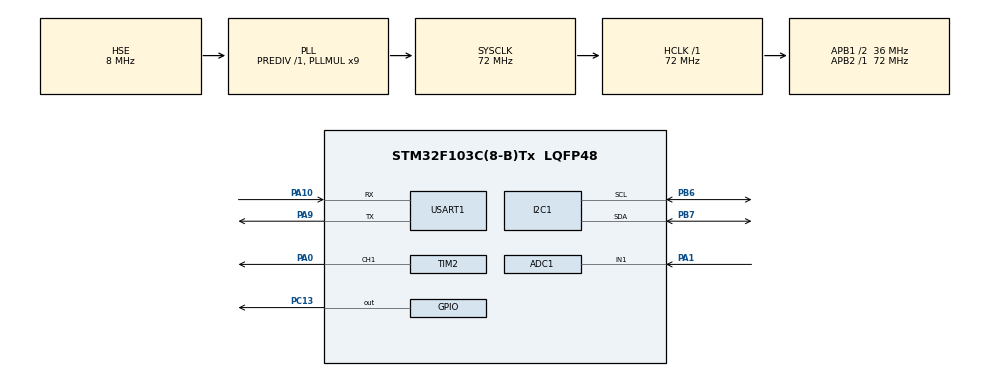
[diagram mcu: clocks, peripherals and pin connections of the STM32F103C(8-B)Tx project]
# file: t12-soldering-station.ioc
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ADC1.Channel-3\#ChannelRegularConversion=ADC_CHANNEL_1
ADC1.NbrOfConversionFlag=1
ADC1.Rank-3\#ChannelRegularConversion=1
ADC1.SamplingTime-3\#ChannelRegularConversion=ADC_SAMPLETIME_1CYCLE_5
ADC1.master=1
Mcu.Family=STM32F1
Mcu.Name=STM32F103C(8-B)Tx
Mcu.Package=LQFP48
NVIC.PriorityGroup=NVIC_PRIORITYGROUP_4
NVIC.TIM2_IRQn=true\:0\:0\:false\:false\:true\:true\:true\:true
PA0-WKUP.Signal=S_TIM2_CH1_ETR
PA1.Signal=ADCx_IN1
PA10.Mode=Asynchronous
PA10.Signal=USART1_RX
PA13.Mode=Serial_Wire
PA13.Signal=SYS_JTMS-SWDIO
PA14.Mode=Serial_Wire
PA14.Signal=SYS_JTCK-SWCLK
PA9.Mode=Asynchronous
PA9.Signal=USART1_TX
PB6.Mode=I2C
PB6.Signal=I2C1_SCL
PB7.Mode=I2C
PB7.Signal=I2C1_SDA
PC13-TAMPER-RTC.Signal=GPIO_Output
PD0-OSC_IN.Mode=HSE-External-Oscillator
PD0-OSC_IN.Signal=RCC_OSC_IN
PD1-OSC_OUT.Mode=HSE-External-Oscillator
PD1-OSC_OUT.Signal=RCC_OSC_OUT
ProjectManager.HeapSize=0x200
ProjectManager.StackSize=0x400
ProjectManager.TargetToolchain=MDK-ARM V5.32
RCC.ADCPresc=RCC_ADCPCLK2_DIV6
RCC.AHBFreq_Value=72000000
RCC.APB1CLKDivider=RCC_HCLK_DIV2
RCC.APB1Freq_Value=36000000
RCC.APB1TimFreq_Value=72000000
RCC.APB2Freq_Value=72000000
RCC.APB2TimFreq_Value=72000000
RCC.HCLKFreq_Value=72000000
RCC.PLLMUL=RCC_PLL_MUL9
RCC.PLLSourceVirtual=RCC_PLLSOURCE_HSE
RCC.SYSCLKFreq_VALUE=72000000
RCC.SYSCLKSource=RCC_SYSCLKSOURCE_PLLCLK
RCC.USBFreq_Value=72000000
SH.ADCx_IN1.0=ADC1_IN1,IN1
SH.S_TIM2_CH1_ETR.0=TIM2_CH1,PWM Generation1 CH1
TIM2.Channel-Output\ Compare2\ No\ Output=TIM_CHANNEL_2
TIM2.Channel-PWM\ Generation1\ CH1=TIM_CHANNEL_1
TIM2.OCPolarity_1=TIM_OCPOLARITY_LOW
TIM2.Period=1050-1
TIM2.Prescaler=144-1
TIM2.Pulse-Output\ Compare2\ No\ Output=1025
TIM2.Pulse-PWM\ Generation1\ CH1=500
USART1.VirtualMode=VM_ASYNC
VP_IWDG_VS_IWDG.Mode=IWDG_Activate
VP_TIM2_VS_ClockSourceINT.Mode=Internal
VP_TIM2_VS_no_output2.Mode=Output Compare2 No Output
board=custom

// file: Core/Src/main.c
/* USER CODE BEGIN Header */
/**
  ******************************************************************************
  * @file           : main.c
  * @brief          : Main program body
  ******************************************************************************
  * @attention
  *
  * Copyright (c) 2023 STMicroelectronics.
  * All rights reserved.
  *
  * This software is licensed under terms that can be found in the LICENSE file
  * in the root directory of this software component.
  * If no LICENSE file comes with this software, it is provided AS-IS.
  *
  ******************************************************************************
  */
/* USER CODE END Header */
#include "main.h"
#include "adc.h"
#include "i2c.h"
#include "iwdg.h"
#include "tim.h"
#include "usart.h"
#include "gpio.h"

void SystemClock_Config(void);
/* USER CODE BEGIN PFP */
uint8_t OLED_ShowStr(unsigned char x, unsigned char y, unsigned char ch[], unsigned char TextSize);
uint8_t OLED_Init(void);
uint8_t OLED_CLS(void);
uint8_t OLED_ShowCN(unsigned char x, unsigned char y, unsigned char N);

uint32_t cnt = 0;
int32_t pwm_max = 1000, temp_t = 50, pwm = 500;
int16_t temp_set = 300, temp_real, state = 1; //0:sleep; 1:awake
uint16_t measure_temp, measure_vibration, measure_temp_set;
float kp = 60, ki = 2, kd = 0;
float err, prev_err = 0, sum_err = 0;

int width = 16, offset = 14;
int teststate = 0;
#define oled_shownum(x,y,n) if(OLED_ShowCN(x,y,n)){HAL_I2C_MspDeInit(&hi2c1);HAL_I2C_MspInit(&hi2c1);MX_I2C1_Init();if(OLED_Init()){teststate++;}else {/*OLED_CLS();*/teststate = 0;}return;}
void oled_show(){
	//temp_real / temp_set
	int num = temp_real;
	if(state){
		oled_shownum(width * 6 + offset, 2, num / 100);
		oled_shownum(width * 5 + offset, 2, (num / 10) % 10);
		oled_shownum(width * 4 + offset, 2, num % 10);
	}else{
		oled_shownum(width * 7, 2, 11);
		oled_shownum(width * 6, 2, 11);
		oled_shownum(width * 5, 2, 11);
	}

	oled_shownum(54, 2, 10);

	num = temp_set;
	oled_shownum(32, 2, num / 100);
	oled_shownum(16, 2, (num / 10) % 10);
	//oled_shownum(0, 2, 0);
	oled_shownum(0, 2, num % 10);

}

/* USER CODE END PFP */

int main(void)
{

  /* MCU Configuration--------------------------------------------------------*/

  /* Reset of all peripherals, Initializes the Flash interface and the Systick. */
  HAL_Init();

  /* Configure the system clock */
  SystemClock_Config();

  /* Initialize all configured peripherals */
  MX_GPIO_Init();
  MX_ADC1_Init();
  MX_I2C1_Init();
  MX_USART1_UART_Init();
  MX_TIM2_Init();
  MX_IWDG_Init();
  /* USER CODE BEGIN 2 */
	OLED_Init();
	OLED_CLS();

	HAL_TIM_Base_Start_IT(&htim2);
	HAL_TIM_PWM_Start(&htim2, TIM_CHANNEL_1);
	HAL_TIM_OC_Start_IT(&htim2, TIM_CHANNEL_2);
	//HAL_ADC_Start_DMA(&hadc1, (uint32_t*)&adc_val, 3);

  /* USER CODE END 2 */

  /* Infinite loop */
  while (1)
  {

    /* USER CODE BEGIN 3 */
	    HAL_IWDG_Refresh(&hiwdg);
		oled_show();

	  	HAL_GPIO_TogglePin(GPIOC,GPIO_PIN_13);//对GPIO口的电平进行反转（低-高，高—低）
		HAL_Delay(500);

  }
  /* USER CODE END 3 */
}

void SystemClock_Config(void)
{
  RCC_OscInitTypeDef RCC_OscInitStruct = {0};
  RCC_ClkInitTypeDef RCC_ClkInitStruct = {0};
  RCC_PeriphCLKInitTypeDef PeriphClkInit = {0};

  /** Initializes the RCC Oscillators according to the specified parameters
  * in the RCC_OscInitTypeDef structure.
  */
  RCC_OscInitStruct.OscillatorType = RCC_OSCILLATORTYPE_LSI|RCC_OSCILLATORTYPE_HSE;
  RCC_OscInitStruct.HSEState = RCC_HSE_ON;
  RCC_OscInitStruct.HSEPredivValue = RCC_HSE_PREDIV_DIV1;
  RCC_OscInitStruct.HSIState = RCC_HSI_ON;
  RCC_OscInitStruct.LSIState = RCC_LSI_ON;
  RCC_OscInitStruct.PLL.PLLState = RCC_PLL_ON;
  RCC_OscInitStruct.PLL.PLLSource = RCC_PLLSOURCE_HSE;
  RCC_OscInitStruct.PLL.PLLMUL = RCC_PLL_MUL9;
  if (HAL_RCC_OscConfig(&RCC_OscInitStruct) != HAL_OK)
  {
    Error_Handler();
  }

  /** Initializes the CPU, AHB and APB buses clocks
  */
  RCC_ClkInitStruct.ClockType = RCC_CLOCKTYPE_HCLK|RCC_CLOCKTYPE_SYSCLK
                              |RCC_CLOCKTYPE_PCLK1|RCC_CLOCKTYPE_PCLK2;
  RCC_ClkInitStruct.SYSCLKSource = RCC_SYSCLKSOURCE_PLLCLK;
  RCC_ClkInitStruct.AHBCLKDivider = RCC_SYSCLK_DIV1;
  RCC_ClkInitStruct.APB1CLKDivider = RCC_HCLK_DIV2;
  RCC_ClkInitStruct.APB2CLKDivider = RCC_HCLK_DIV1;

  if (HAL_RCC_ClockConfig(&RCC_ClkInitStruct, FLASH_LATENCY_2) != HAL_OK)
  {
    Error_Handler();
  }
  PeriphClkInit.PeriphClockSelection = RCC_PERIPHCLK_ADC;
  PeriphClkInit.AdcClockSelection = RCC_ADCPCLK2_DIV6;
  if (HAL_RCCEx_PeriphCLKConfig(&PeriphClkInit) != HAL_OK)
  {
    Error_Handler();
  }
}

/* USER CODE BEGIN 4 */

void ADC_Select_CH (uint32_t channel)
{
	ADC_ChannelConfTypeDef sConfig = {0};
	  /** Configure for the selected ADC regular channel its corresponding rank in the sequencer and its sample time.
	  */
	  sConfig.Channel = channel;
	  sConfig.Rank = 1;
	  sConfig.SamplingTime = ADC_SAMPLETIME_41CYCLES_5;
	  if (HAL_ADC_ConfigChannel(&hadc1, &sConfig) != HAL_OK)
	  {
	    Error_Handler();
	  }
}

void adc_scan(){
	ADC_Select_CH(ADC_CHANNEL_1);
	HAL_ADC_Start(&hadc1);
	HAL_ADC_PollForConversion(&hadc1, 1000);
	int temp_val = HAL_ADC_GetValue(&hadc1);
	if(temp_val < 3800){
		measure_temp = measure_temp * 0.95 + HAL_ADC_GetValue(&hadc1) * 0.05;
	}
	HAL_ADC_Stop(&hadc1);
	ADC_Select_CH(ADC_CHANNEL_2);
	HAL_ADC_Start(&hadc1);
	HAL_ADC_PollForConversion(&hadc1, 1000);
	measure_vibration = HAL_ADC_GetValue(&hadc1);
	HAL_ADC_Stop(&hadc1);
	ADC_Select_CH(ADC_CHANNEL_3);
	HAL_ADC_Start(&hadc1);
	HAL_ADC_PollForConversion(&hadc1, 1000);
	measure_temp_set = measure_temp_set * 0.95 + HAL_ADC_GetValue(&hadc1) * 0.05;
	HAL_ADC_Stop(&hadc1);
}
void HAL_TIM_OC_DelayElapsedCallback(TIM_HandleTypeDef *htim){
	HAL_IWDG_Refresh(&hiwdg);
	if(htim == &htim2){
		if(htim->Channel == HAL_TIM_ACTIVE_CHANNEL_2){
			cnt++;
			adc_scan();
			//calculate temperature
			temp_set = (float)measure_temp_set / 4096 * 200 + 200;
			temp_real = measure_temp * 0.1238 + 17.2814;
			//pid=>pwm
			err = temp_set - temp_real;
			if(err < 10) sum_err += err;
			if(sum_err > 100) sum_err = 100;
			else if(sum_err < -100) sum_err = -100;
			if(err <= 0) pwm = 0;
			else pwm = kp * err + kd * (err - prev_err) + ki * sum_err;
			if(pwm > 1000) pwm = 1000;
			if(pwm < 0) pwm = 0;
			if(state == 0) pwm = 0;
			prev_err = err;
			//pwm = (float)measure_temp_set / 4096 * 1800;
			TIM2->CCR1 = pwm;

			//sense vibration
			if(measure_vibration > 1000){ //threshold
				cnt = 0;
				state = 1;
			}else if(cnt > 20000){ //1 min no movement
				state = 0;
			}

		}
	}
}

/* USER CODE END 4 */

void Error_Handler(void)
{
  __disable_irq();
  while (1)
  {
  }
}
